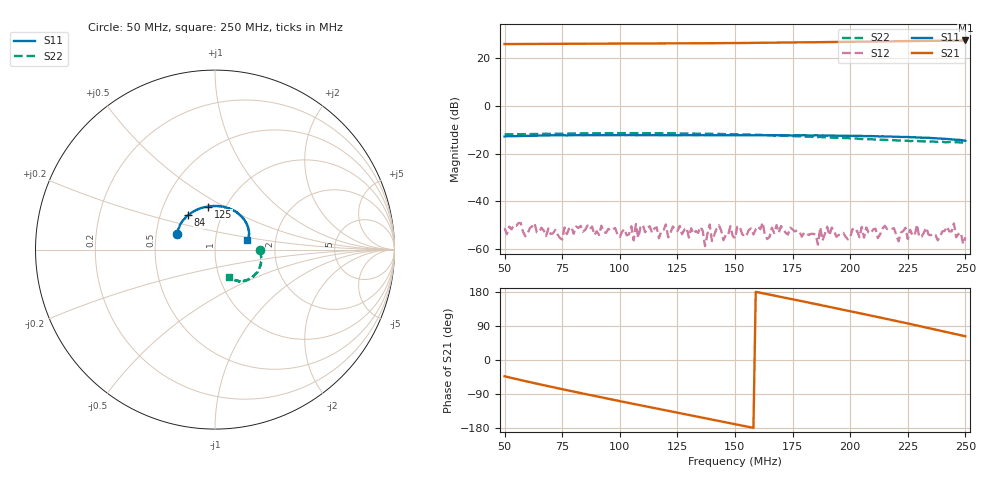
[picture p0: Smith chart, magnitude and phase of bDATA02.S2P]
! Network Analyzer HP8753D.06.12 Serial No. 3410A09394
! 12 Jun 2019  09:45:28
# HZ  S  DB R 50
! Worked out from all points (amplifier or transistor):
!   201 points, 50 MHz to 250 MHz, reference 50 ohm
!   highest |S21| = 27.5 dB at 250 MHz (marker M1)
!   |S21| within 3 dB of that: start of sweep to end of sweep
!   unconditionally stable (mu >= 1): start of sweep to end of sweep
!   at 83 MHz: K = 7.17, MAG = 26.7 dB, |S12| = -50.4 dB
!   at 150 MHz: K = 12.81, MAG = 27.0 dB, |S12| = -55.6 dB
!   at 250 MHz: K = 11.31, MAG = 27.8 dB, |S12| = -55.2 dB
!   S11 on the Smith chart (normalised r, x): 50 MHz: 0.64, +0.12; 84 MHz: 0.69, +0.28; 125 MHz: 0.83, +0.42; 250 MHz: 1.43, +0.15
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5e7  -12.83 157.7  26.00 -42.9  -51.39 139.2  -11.93 -1.1
5.6e7  -12.64 151.7  26.04 -51.6  -49.19 140.7  -11.87 -3.1
6.5e7  -12.40 144.0  26.09 -63.9  -52.91 121.8  -11.78 -6.2
7.4e7  -12.36 136.1  26.13 -75.7  -55.48 111.4  -11.68 -9.9
8.4e7  -12.30 128.2  26.17 -88.5  -52.83 111.9  -11.55 -13.3
9.3e7  -12.26 121.6  26.20 -99.8  -52.92 105.2  -11.47 -16.7
1.01e8  -12.22 115.6  26.21 -109.7  -52.82 107.2  -11.43 -19.8
1.17e8  -12.28 104.2  26.28 -129.3  -55.63 47.7  -11.47 -26.0
1.25e8  -12.30 98.9  26.30 -138.9  -52.60 62.1  -11.52 -29.2
1.38e8  -12.26 90.5  26.36 -154.8  -53.91 42.8  -11.70 -34.5
1.5e8  -12.30 82.5  26.43 -169.3  -55.64 35.0  -11.95 -39.3
1.57e8  -12.25 78.1  26.49 -177.8  -51.44 18.2  -12.09 -42.1
1.68e8  -12.30 71.0  26.62 168.9  -50.06 1.8  -12.44 -46.2
1.76e8  -12.34 66.2  26.71 158.9  -52.72 5.6  -12.68 -49.2
1.84e8  -12.38 60.6  26.78 149.0  -53.76 -11.1  -12.95 -51.8
1.94e8  -12.53 54.3  26.89 136.4  -54.96 -37.7  -13.38 -54.7
2.01e8  -12.61 49.9  26.98 127.4  -51.71 -54.1  -13.64 -56.0
2.17e8  -12.81 39.5  27.15 106.8  -51.66 -29.6  -14.28 -59.1
2.24e8  -13.07 34.1  27.24 97.8  -51.19 -52.0  -14.61 -60.2
2.33e8  -13.36 28.2  27.34 85.8  -51.16 -66.8  -14.86 -61.9
2.41e8  -13.77 22.3  27.42 75.0  -52.52 -84.4  -15.22 -62.8
2.5e8  -14.62 16.1  27.52 62.6  -55.18 -98.0  -15.32 -63.5
